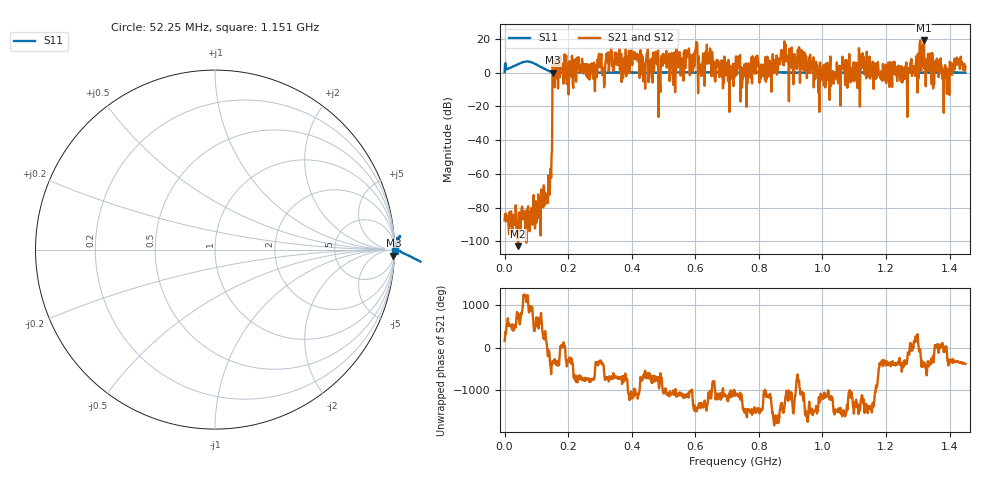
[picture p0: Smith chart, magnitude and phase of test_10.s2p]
! Created with skrf 1.11.0 (http://scikit-rf.org).
# Hz S RI R 50.0
!freq ReS11 ImS11 ReS21 ImS21 ReS12 ImS12 ReS22 ImS22
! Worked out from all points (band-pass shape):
!   1001 points, 50 kHz to 1.45 GHz, reference 50 ohm
!   highest |S21| = 18.99 dB at 1.32 GHz (marker M1); lowest = -102.8 dB at 42.1 MHz (marker M2)
!   |S21| within 3 dB of the highest: 602.5 MHz to 606.3 MHz (3.783 MHz wide, 0.626 % of centre); 1.30618 GHz to 1.308456 GHz (2.276 MHz wide, 0.174 % of centre) (the widest 2 of 6)
!   lowest |S11| = -0.1 dB at 152.3 MHz (marker M3), VSWR 338.30, Z = 503 - j2.87e+03 ohm
!   |S11| at or under -10 dB: nowhere
!   |S22| runs from - to - dB; largest |S21 - S12| = 0
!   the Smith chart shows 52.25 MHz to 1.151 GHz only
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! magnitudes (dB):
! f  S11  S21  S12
! 50 kHz  0.1  -87.6  -87.6
! 42.1 MHz  4.9  -102.8  -102.8
! 134.9 MHz  1.3  -72.6  -72.6
! 142.1 MHz  0.7  -72.3  -72.3
! 152.3 MHz  -0.1  2.9  2.9
! 158.1 MHz  0.0  -8.7  -8.7
! 242.2 MHz  0.1  1.7  1.7
! 410.4 MHz  0.0  8.2  8.2
! 459.7 MHz  0.0  7.7  7.7
! 475.6 MHz  0.0  12.3  12.3
! 484.3 MHz  0.0  -26.3  -26.3
! 600.3 MHz  0.0  12.3  12.3
! 614.8 MHz  0.1  2.0  2.0
! 639.5 MHz  0.1  5.5  5.5
! 725 MHz  0.1  -2.5  -2.5
! 835.2 MHz  0.1  6.1  6.1
! 877.3 MHz  0.1  4.4  4.4
! 967.2 MHz  0.1  4.5  4.5
! 1.209 GHz  0.0  -4.6  -4.6
! 1.32 GHz  0.1  19.0  19.0
! 1.389 GHz  0.0  -0.9  -0.9
! 1.45 GHz  0.0  3.5  3.5
